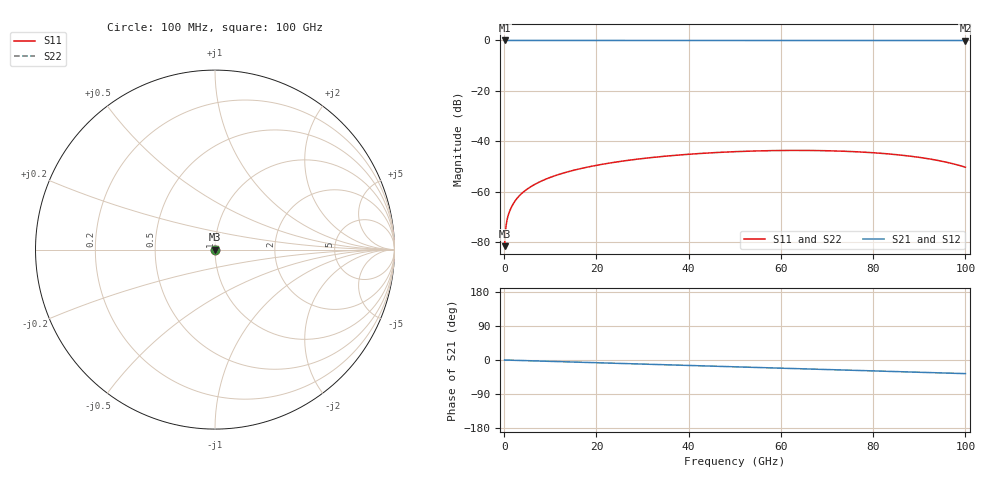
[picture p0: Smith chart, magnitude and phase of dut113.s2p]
! Touchstone file exported from HFSS 2026.1.0
!  File:  C:/ffzhzh/LocalFiles/Ansys_Project_Files/temp_train_TSV_113_1783505967_41296.aedt
!  Generated:  06:20:41 PM Jul  8, 2026
!  Design:  TSV
!  Project:  temp_train_TSV_113_1783505967_41296
! Variables:
!  h_bsmrdl = 2um
!  h_ox = 20um
!  h_rdl = 5um
!  h_sub = 67.21um
!  h_tmrdl = 5um
!  h_tsv = 67.21um
!  h_via = 3um
!  l_bsmrdl = 300um
!  l_sub = 428.84um
!  l_tmrdl = 200um
!  m_sub = 200um
!  pitch = 58.5um
!  r_tsv = 14.42um
!  s_tmrdl = 10um
!  w_bsmrdl = 18um
!  w_sub = 500um
!  w_tmrdl = 12um
!  x_tsv_center1 = 206um
!  x_tsv_center2 = 524um
!  x_tsv_center3 = 736um
!  x_tsv_center4 = 1054um
!  x_tsv_center5 = 1266um
!  x_tsv_center6 = 1584um
# GHz S MA R 50.000000
! Terminal data exported
! Port[1] = TSV1_1_T1
! Port[2] = TSV1_1_T2
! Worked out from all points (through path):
!   1000 points, 100 MHz to 100 GHz, reference 50 ohm
!   highest |S21| = 0.00 dB at 100 MHz (marker M1); lowest = 0.0 dB at 100 GHz (marker M2)
!   group delay of S21, straight-line fit = 997 fs
!   lowest |S11| = -81.6 dB at 100 MHz (marker M3), VSWR 1.00, Z = 50 + j0.00505 ohm
!   |S11| at or under -10 dB: start of sweep to end of sweep
!   |S22| runs from -81.6 to -43.6 dB; largest |S21 - S12| = 1.8e-15
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0.1  8.287e-05 37.5  0.9999 -0.0  0.9999 -0.0  8.287e-05 37.5
! Gamma 0 0 0 0
! Port Impedance 50 0 50 0
0.4  0.0002045 56.3  0.9999 -0.1  0.9999 -0.1  0.0002045 56.3
0.8  0.00032 57.4  0.9998 -0.3  0.9998 -0.3  0.00032 57.4
1.1  0.0003893 58.6  0.9998 -0.4  0.9998 -0.4  0.0003893 58.6
1.4  0.0004545 60.0  0.9998 -0.5  0.9998 -0.5  0.0004545 60.0
1.9  0.0005592 61.8  0.9997 -0.7  0.9997 -0.7  0.0005592 61.8
2.5  0.0006791 63.2  0.9997 -0.9  0.9997 -0.9  0.0006792 63.2
4  0.0009546 65.2  0.9996 -1.4  0.9996 -1.4  0.0009546 65.2
6.2  0.001323 66.9  0.9995 -2.2  0.9995 -2.2  0.001323 66.9
9  0.001767 68.0  0.9994 -3.2  0.9994 -3.2  0.001767 68.0
12.5  0.00229 68.3  0.9993 -4.5  0.9993 -4.5  0.00229 68.3
16.8  0.002897 68.3  0.9992 -6.0  0.9992 -6.0  0.002898 68.3
24.3  0.003874 67.3  0.999 -8.7  0.999 -8.7  0.003875 67.2
33.4  0.004901 65.1  0.9989 -11.9  0.9989 -11.9  0.004902 65.1
41.5  0.005644 62.8  0.9987 -14.8  0.9987 -14.8  0.005645 62.7
50.1  0.00622 59.9  0.9986 -17.9  0.9986 -17.9  0.006221 59.8
66.7  0.006559 53.3  0.9983 -23.9  0.9983 -23.9  0.006563 53.1
75.5  0.006238 49.0  0.9982 -27.1  0.9982 -27.1  0.006243 48.9
83.4  0.005602 44.4  0.9981 -29.9  0.9981 -29.9  0.005608 44.2
92.5  0.004414 37.1  0.9979 -33.2  0.9979 -33.2  0.004424 36.7
96.2  0.003785 32.7  0.9978 -34.6  0.9978 -34.6  0.003797 32.3
100  0.003055 26.3  0.9977 -36.0  0.9977 -36.0  0.003071 25.7
